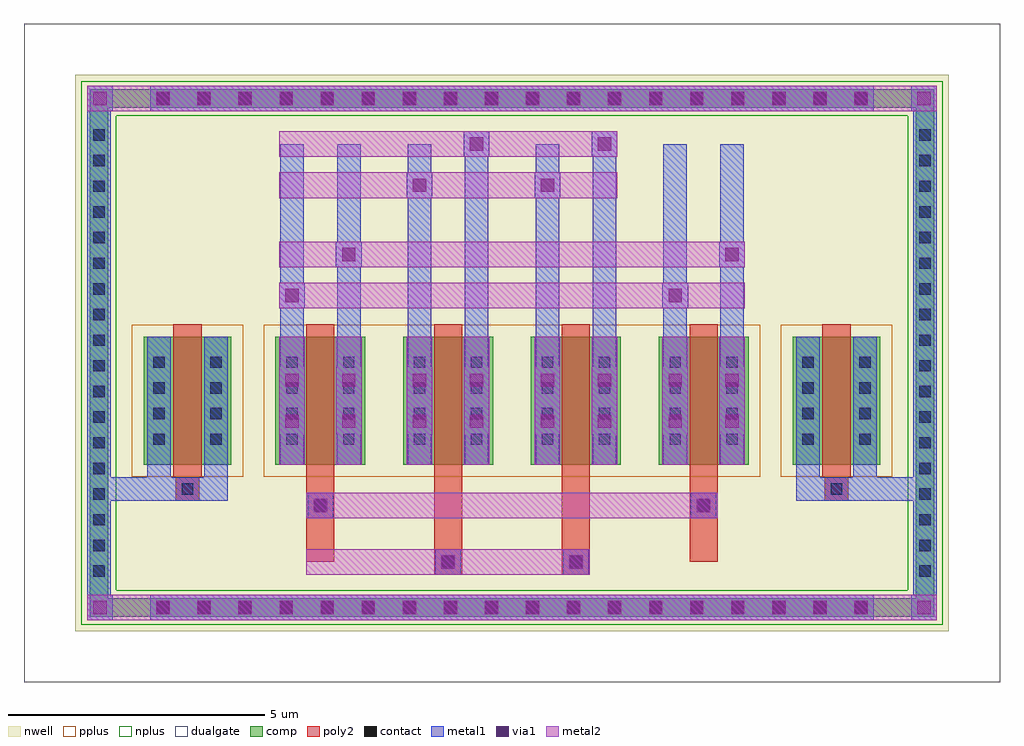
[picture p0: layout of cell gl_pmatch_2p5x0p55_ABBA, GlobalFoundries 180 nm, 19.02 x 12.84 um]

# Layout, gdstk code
import gdstk
lib = gdstk.Library(unit=1e-6, precision=1e-09)
def R(c, l, rs):  # rectangles x0, y0, x1, y1
    for r in rs: c.add(gdstk.rectangle(r[:2], r[2:], *l))
def A(c, l, x, y, w, h, nx, ny, dx, dy):  # array of equal rectangles
    R(c, l, [(x+i*dx, y+j*dy, x+i*dx+w, y+j*dy+h) for i in range(nx) for j in range(ny)])
def P(c, l, *ps):  # polygons
    for p in ps: c.add(gdstk.Polygon(p, *l))
nwell = (21, 0)
comp = (22, 0)
poly2 = (30, 0)
pplus = (31, 0)
nplus = (32, 0)
contact = (33, 0)
metal1 = (34, 0)
via1 = (35, 0)
metal2 = (36, 0)
dualgate = (55, 0)

gl_pmatch_2p5x0p55_abba = lib.new_cell('gl_pmatch_2p5x0p55_ABBA')
R(gl_pmatch_2p5x0p55_abba, nwell, [(-8.51,-5.42,8.51,5.42), (-8.35,-5.26,8.35,5.26)])
A(gl_pmatch_2p5x0p55_abba, comp, -6.98, -5.14, 0.36, 0.36, 18, 2, 0.8, 9.92)
A(gl_pmatch_2p5x0p55_abba, comp, -8.23, -4.43, 0.36, 0.36, 1, 18, 0, 0.5)
A(gl_pmatch_2p5x0p55_abba, comp, 7.87, -4.43, 0.36, 0.36, 1, 18, 0, 0.5)
A(gl_pmatch_2p5x0p55_abba, comp, -4.61, -2.18, 1.75, 2.5, 4, 1, 2.49, 0)
R(gl_pmatch_2p5x0p55_abba, comp, [(-6.98,-5.14,6.98,-4.78), (-8.23,-4.43,-7.87,4.43), (7.87,-4.43,8.23,4.43), (-7.18,-2.18,-5.47,0.32), (5.47,-2.18,7.18,0.32), (-6.98,4.78,6.98,5.14)])
P(gl_pmatch_2p5x0p55_abba, comp, [(-8.23,-5.14),(-8.23,-4.78),(-7.87,-4.78),(7.87,-4.78),(7.87,4.78),(-7.87,4.78),(-7.87,-4.78),(-8.23,-4.78),(-8.23,5.14),(8.23,5.14),(8.23,-5.14)])
A(gl_pmatch_2p5x0p55_abba, poly2, -4.01, -2.42, 0.55, 2.98, 4, 1, 2.49, 0)
R(gl_pmatch_2p5x0p55_abba, poly2, [(-1.52,-4.32,-0.97,-3.82), (0.97,-4.32,1.52,-3.82), (-1.425,-4.25,-1.065,-3.89), (1.065,-4.25,1.425,-3.89), (-4.01,-4.07,-3.46,-2.42), (3.46,-4.07,4.01,-2.42), (-1.52,-3.82,-0.97,-2.42), (0.97,-3.82,1.52,-2.42), (-4.01,-3.22,-3.46,-2.72), (3.46,-3.22,4.01,-2.72), (-3.915,-3.15,-3.555,-2.79), (3.555,-3.15,3.915,-2.79), (-6.555,-2.88,-6.095,-2.42), (6.095,-2.88,6.555,-2.42), (-6.505,-2.83,-6.145,-2.47), (6.145,-2.83,6.505,-2.47), (-4.01,-2.72,-3.46,-2.42), (3.46,-2.72,4.01,-2.42), (-6.6,-2.42,-6.05,0.56), (6.05,-2.42,6.6,0.56)])
A(gl_pmatch_2p5x0p55_abba, pplus, -4.84, -2.41, 2.21, 2.96, 4, 1, 2.49, 0)
R(gl_pmatch_2p5x0p55_abba, pplus, [(-7.41,-2.41,-5.24,0.55), (-4.84,-2.41,4.84,0.55), (5.24,-2.41,7.41,0.55)])
P(gl_pmatch_2p5x0p55_abba, nplus, [(-8.39,-5.3),(-8.39,-4.62),(-7.71,-4.62),(7.71,-4.62),(7.71,4.62),(-7.71,4.62),(-7.71,-4.62),(-8.39,-4.62),(-8.39,5.3),(8.39,5.3),(8.39,-5.3)])
A(gl_pmatch_2p5x0p55_abba, contact, -6.91, -5.07, 0.22, 0.22, 18, 2, 0.8, 9.92)
A(gl_pmatch_2p5x0p55_abba, contact, -8.16, -4.36, 0.22, 0.22, 1, 18, 0, 0.5)
A(gl_pmatch_2p5x0p55_abba, contact, 7.94, -4.36, 0.22, 0.22, 1, 18, 0, 0.5)
A(gl_pmatch_2p5x0p55_abba, contact, -6.99, -1.79, 0.22, 0.22, 1, 4, 0, 0.5)
A(gl_pmatch_2p5x0p55_abba, contact, -5.88, -1.79, 0.22, 0.22, 1, 4, 0, 0.5)
A(gl_pmatch_2p5x0p55_abba, contact, -4.4, -1.79, 0.22, 0.22, 1, 4, 0, 0.5)
A(gl_pmatch_2p5x0p55_abba, contact, -3.29, -1.79, 0.22, 0.22, 1, 4, 0, 0.5)
A(gl_pmatch_2p5x0p55_abba, contact, -1.91, -1.79, 0.22, 0.22, 1, 4, 0, 0.5)
A(gl_pmatch_2p5x0p55_abba, contact, -0.8, -1.79, 0.22, 0.22, 1, 4, 0, 0.5)
A(gl_pmatch_2p5x0p55_abba, contact, 0.58, -1.79, 0.22, 0.22, 1, 4, 0, 0.5)
A(gl_pmatch_2p5x0p55_abba, contact, 1.69, -1.79, 0.22, 0.22, 1, 4, 0, 0.5)
A(gl_pmatch_2p5x0p55_abba, contact, 3.07, -1.79, 0.22, 0.22, 1, 4, 0, 0.5)
A(gl_pmatch_2p5x0p55_abba, contact, 4.18, -1.79, 0.22, 0.22, 1, 4, 0, 0.5)
A(gl_pmatch_2p5x0p55_abba, contact, 5.66, -1.79, 0.22, 0.22, 1, 4, 0, 0.5)
A(gl_pmatch_2p5x0p55_abba, contact, 6.77, -1.79, 0.22, 0.22, 1, 4, 0, 0.5)
R(gl_pmatch_2p5x0p55_abba, contact, [(-1.355,-4.18,-1.135,-3.96), (1.135,-4.18,1.355,-3.96), (-3.845,-3.08,-3.625,-2.86), (3.625,-3.08,3.845,-2.86), (-6.435,-2.76,-6.215,-2.54), (6.215,-2.76,6.435,-2.54)])
A(gl_pmatch_2p5x0p55_abba, metal1, -7.05, -5.21, 0.5, 0.5, 18, 2, 0.8, 9.92)
A(gl_pmatch_2p5x0p55_abba, metal1, -8.28, -4.48, 0.46, 0.46, 1, 18, 0, 0.5)
A(gl_pmatch_2p5x0p55_abba, metal1, 7.82, -4.48, 0.46, 0.46, 1, 18, 0, 0.5)
A(gl_pmatch_2p5x0p55_abba, metal1, -7.11, -1.91, 0.46, 0.46, 1, 4, 0, 0.5)
A(gl_pmatch_2p5x0p55_abba, metal1, -6, -1.91, 0.46, 0.46, 1, 4, 0, 0.5)
A(gl_pmatch_2p5x0p55_abba, metal1, -4.52, -1.91, 0.46, 0.46, 1, 4, 0, 0.5)
A(gl_pmatch_2p5x0p55_abba, metal1, -3.41, -1.91, 0.46, 0.46, 1, 4, 0, 0.5)
A(gl_pmatch_2p5x0p55_abba, metal1, -2.03, -1.91, 0.46, 0.46, 1, 4, 0, 0.5)
A(gl_pmatch_2p5x0p55_abba, metal1, -0.92, -1.91, 0.46, 0.46, 1, 4, 0, 0.5)
A(gl_pmatch_2p5x0p55_abba, metal1, 0.46, -1.91, 0.46, 0.46, 1, 4, 0, 0.5)
A(gl_pmatch_2p5x0p55_abba, metal1, 1.57, -1.91, 0.46, 0.46, 1, 4, 0, 0.5)
A(gl_pmatch_2p5x0p55_abba, metal1, 2.95, -1.91, 0.46, 0.46, 1, 4, 0, 0.5)
A(gl_pmatch_2p5x0p55_abba, metal1, 4.06, -1.91, 0.46, 0.46, 1, 4, 0, 0.5)
A(gl_pmatch_2p5x0p55_abba, metal1, 5.54, -1.91, 0.46, 0.46, 1, 4, 0, 0.5)
A(gl_pmatch_2p5x0p55_abba, metal1, 6.65, -1.91, 0.46, 0.46, 1, 4, 0, 0.5)
R(gl_pmatch_2p5x0p55_abba, metal1, [(-8.28,-5.21,-7.78,-4.71), (-8.28,-5.21,-7.78,-4.71), (-8.28,-5.21,-7.82,-4.78), (-7.05,-5.21,7.05,-4.71), (7.78,-5.21,8.28,-4.71), (7.78,-5.21,8.28,-4.71), (7.82,-5.21,8.28,-4.78), (-8.28,-4.78,-7.82,4.78), (7.82,-4.78,8.28,4.78), (-1.495,-4.32,-0.995,-3.82), (0.995,-4.32,1.495,-3.82), (-3.985,-3.22,-3.485,-2.72), (3.485,-3.22,3.985,-2.72), (-8.28,-2.88,-6.555,-2.42), (-7.11,-2.88,-6.555,-2.42), (-7.11,-2.88,-6.65,-2.18), (-6.555,-2.88,-6.095,-2.42), (-6.095,-2.88,-5.54,-2.42), (-6,-2.88,-5.54,-2.18), (5.54,-2.88,6.095,-2.42), (5.54,-2.88,6,-2.18), (6.095,-2.88,6.555,-2.42), (6.555,-2.88,7.11,-2.42), (6.555,-2.88,8.28,-2.42), (6.65,-2.88,7.11,-2.18), (-7.11,-2.18,-6.65,0.32), (-6,-2.18,-5.54,0.32), (-4.52,-2.18,-4.06,0.32), (-3.41,-2.18,-2.95,0.32), (-2.03,-2.18,-1.57,0.32), (-0.92,-2.18,-0.46,0.32), (0.46,-2.18,0.92,0.32), (1.57,-2.18,2.03,0.32), (2.95,-2.18,3.41,0.32), (4.06,-2.18,4.52,0.32), (5.54,-2.18,6,0.32), (6.65,-2.18,7.11,0.32), (-4.54,-1.58,-4.04,-1.08), (-4.54,-1.58,-4.04,-0.28), (-3.43,-1.58,-2.93,-1.08), (-3.43,-1.58,-2.93,-0.28), (-2.05,-1.58,-1.55,-1.08), (-2.05,-1.58,-1.55,-0.28), (-0.94,-1.58,-0.44,-1.08), (-0.94,-1.58,-0.44,-0.28), (0.44,-1.58,0.94,-1.08), (0.44,-1.58,0.94,-0.28), (1.55,-1.58,2.05,-1.08), (1.55,-1.58,2.05,-0.28), (2.93,-1.58,3.43,-1.08), (2.93,-1.58,3.43,-0.28), (4.04,-1.58,4.54,-1.08), (4.04,-1.58,4.54,-0.28), (-4.54,-0.78,-4.04,-0.28), (-3.43,-0.78,-2.93,-0.28), (-2.05,-0.78,-1.55,-0.28), (-0.94,-0.78,-0.44,-0.28), (0.44,-0.78,0.94,-0.28), (1.55,-0.78,2.05,-0.28), (2.93,-0.78,3.43,-0.28), (4.04,-0.78,4.54,-0.28), (-4.52,0.32,-4.06,1.37), (-4.52,0.32,-4.06,4.07), (-3.41,0.32,-2.95,2.17), (-3.41,0.32,-2.95,4.07), (-2.03,0.32,-1.57,3.52), (-2.03,0.32,-1.57,4.07), (-0.92,0.32,-0.46,4.07), (-0.92,0.32,-0.46,4.32), (0.46,0.32,0.92,3.52), (0.46,0.32,0.92,4.07), (1.57,0.32,2.03,4.07), (1.57,0.32,2.03,4.32), (2.95,0.32,3.41,1.37), (2.95,0.32,3.41,4.07), (4.06,0.32,4.52,2.17), (4.06,0.32,4.52,4.07), (-4.54,0.87,-4.04,1.37), (2.93,0.87,3.43,1.37), (-3.43,1.67,-2.93,2.17), (4.04,1.67,4.54,2.17), (-2.05,3.02,-1.55,3.52), (0.44,3.02,0.94,3.52), (-0.94,3.82,-0.44,4.32), (1.55,3.82,2.05,4.32), (-8.28,4.71,-7.78,5.21), (-8.28,4.71,-7.78,5.21), (-7.05,4.71,7.05,5.21), (7.78,4.71,8.28,5.21), (7.78,4.71,8.28,5.21), (-8.28,4.78,-7.82,5.21), (7.82,4.78,8.28,5.21)])
A(gl_pmatch_2p5x0p55_abba, via1, -6.93, -5.09, 0.26, 0.26, 18, 2, 0.8, 9.92)
R(gl_pmatch_2p5x0p55_abba, via1, [(-8.16,-5.09,-7.9,-4.83), (7.9,-5.09,8.16,-4.83), (-1.375,-4.2,-1.115,-3.94), (1.115,-4.2,1.375,-3.94), (-3.865,-3.1,-3.605,-2.84), (3.605,-3.1,3.865,-2.84), (-4.42,-1.46,-4.16,-1.2), (-3.31,-1.46,-3.05,-1.2), (-1.93,-1.46,-1.67,-1.2), (-0.82,-1.46,-0.56,-1.2), (0.56,-1.46,0.82,-1.2), (1.67,-1.46,1.93,-1.2), (3.05,-1.46,3.31,-1.2), (4.16,-1.46,4.42,-1.2), (-4.42,-0.66,-4.16,-0.4), (-3.31,-0.66,-3.05,-0.4), (-1.93,-0.66,-1.67,-0.4), (-0.82,-0.66,-0.56,-0.4), (0.56,-0.66,0.82,-0.4), (1.67,-0.66,1.93,-0.4), (3.05,-0.66,3.31,-0.4), (4.16,-0.66,4.42,-0.4), (-4.42,0.99,-4.16,1.25), (3.05,0.99,3.31,1.25), (-3.31,1.79,-3.05,2.05), (4.16,1.79,4.42,2.05), (-1.93,3.14,-1.67,3.4), (0.56,3.14,0.82,3.4), (-0.82,3.94,-0.56,4.2), (1.67,3.94,1.93,4.2), (-8.16,4.83,-7.9,5.09), (7.9,4.83,8.16,5.09)])
A(gl_pmatch_2p5x0p55_abba, metal2, -7.05, -5.21, 0.5, 0.5, 18, 2, 0.8, 9.92)
R(gl_pmatch_2p5x0p55_abba, metal2, [(-8.28,-5.21,-7.78,-4.71), (-8.28,-5.21,-7.78,-4.71), (-8.28,-5.21,-7.87,-4.71), (-7.87,-5.21,7.87,-4.71), (7.78,-5.21,8.28,-4.71), (7.78,-5.21,8.28,-4.71), (7.87,-5.21,8.28,-4.71), (-4.01,-4.32,1.52,-3.82), (-1.52,-4.32,-0.97,-3.82), (-1.495,-4.32,-0.995,-3.82), (0.97,-4.32,1.52,-3.82), (0.995,-4.32,1.495,-3.82), (-4.01,-3.22,4.01,-2.72), (-4.01,-3.22,-3.46,-2.72), (-3.985,-3.22,-3.485,-2.72), (3.46,-3.22,4.01,-2.72), (3.485,-3.22,3.985,-2.72), (-4.54,-2.18,-4.04,0.32), (-3.43,-2.18,-2.93,0.32), (-2.05,-2.18,-1.55,0.32), (-0.94,-2.18,-0.44,0.32), (0.44,-2.18,0.94,0.32), (1.55,-2.18,2.05,0.32), (2.93,-2.18,3.43,0.32), (4.04,-2.18,4.54,0.32), (-4.54,-1.58,-4.04,-1.08), (-3.43,-1.58,-2.93,-1.08), (-2.05,-1.58,-1.55,-1.08), (-0.94,-1.58,-0.44,-1.08), (0.44,-1.58,0.94,-1.08), (1.55,-1.58,2.05,-1.08), (2.93,-1.58,3.43,-1.08), (4.04,-1.58,4.54,-1.08), (-4.54,-0.78,-4.04,-0.28), (-3.43,-0.78,-2.93,-0.28), (-2.05,-0.78,-1.55,-0.28), (-0.94,-0.78,-0.44,-0.28), (0.44,-0.78,0.94,-0.28), (1.55,-0.78,2.05,-0.28), (2.93,-0.78,3.43,-0.28), (4.04,-0.78,4.54,-0.28), (-4.54,0.87,4.54,1.37), (-4.54,0.87,-2.93,1.37), (-4.54,0.87,-4.04,1.37), (2.93,0.87,4.54,1.37), (2.93,0.87,3.43,1.37), (-4.54,1.67,4.54,2.17), (-4.54,1.67,-2.93,2.17), (-3.43,1.67,-2.93,2.17), (2.93,1.67,4.54,2.17), (4.04,1.67,4.54,2.17), (-4.54,3.02,2.05,3.52), (-2.05,3.02,-0.44,3.52), (-2.05,3.02,-1.55,3.52), (0.44,3.02,2.05,3.52), (0.44,3.02,0.94,3.52), (-4.54,3.82,2.05,4.32), (-2.05,3.82,-0.44,4.32), (-0.94,3.82,-0.44,4.32), (0.44,3.82,2.05,4.32), (1.55,3.82,2.05,4.32), (-8.28,4.71,-7.78,5.21), (-8.28,4.71,-7.78,5.21), (-8.28,4.71,-7.87,5.21), (-7.87,4.71,7.87,5.21), (7.78,4.71,8.28,5.21), (7.78,4.71,8.28,5.21), (7.87,4.71,8.28,5.21)])
R(gl_pmatch_2p5x0p55_abba, dualgate, [(-9.51,-6.42,9.51,6.42)])

lib.write_gds('gl_pmatch_2p5x0p55_ABBA.gds')
